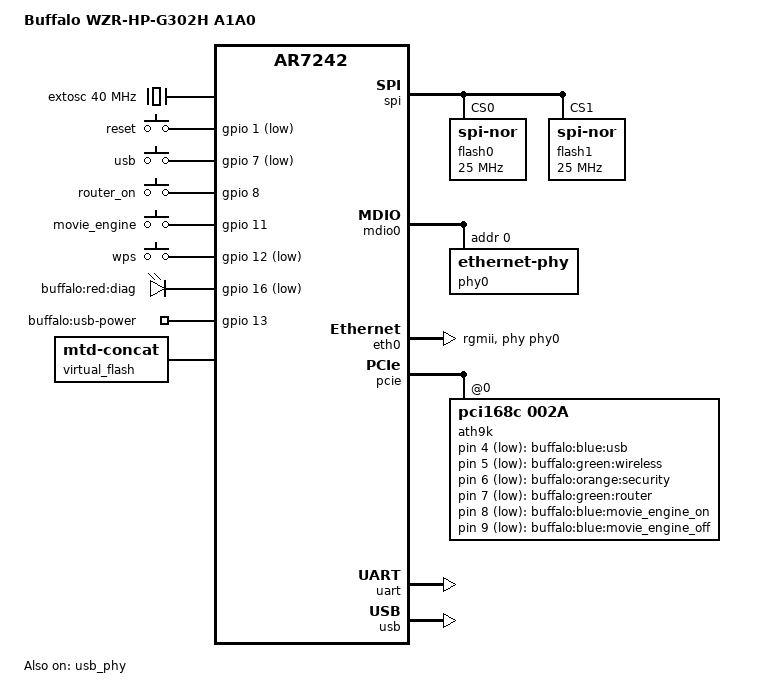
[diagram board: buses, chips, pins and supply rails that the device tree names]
// SPDX-License-Identifier: GPL-2.0-or-later OR MIT
/dts-v1/;

#include <dt-bindings/gpio/gpio.h>
#include <dt-bindings/input/input.h>

#include "ar7242.dtsi"

/ {
	compatible = "buffalo,wzr-hp-g302h-a1a0", "qca,ar7242";
	model = "Buffalo WZR-HP-G302H A1A0";

	aliases {
		led-boot = &diag;
		led-failsafe = &diag;
		led-upgrade = &diag;
	};

	extosc: ref {
		compatible = "fixed-clock";
		#clock-cells = <0>;
		clock-frequency = <40000000>;
	};

	keys {
		compatible = "gpio-keys-polled";
		poll-interval = <20>;

		reset {
			label = "reset";
			linux,code = <KEY_RESTART>;
			gpios = <&gpio 1 GPIO_ACTIVE_LOW>;
			debounce-interval = <60>;
		};

		button_usb {
			label = "usb";
			linux,code = <BTN_2>;
			gpios = <&gpio 7 GPIO_ACTIVE_LOW>;
			debounce-interval = <60>;
		};

		router_on {
			label = "router_on";
			linux,code = <BTN_5>;
			linux,input-type = <EV_SW>;
			gpios = <&gpio 8 GPIO_ACTIVE_HIGH>;
			debounce-interval = <60>;
		};

		movie_engine {
			label = "movie_engine";
			linux,code = <BTN_3>;
			linux,input-type = <EV_SW>;
			gpios = <&gpio 11 GPIO_ACTIVE_HIGH>;
			debounce-interval = <60>;
		};

		wps {
			label = "wps";
			linux,code = <KEY_WPS_BUTTON>;
			gpios = <&gpio 12 GPIO_ACTIVE_LOW>;
			debounce-interval = <60>;
		};
	};

	leds {
		compatible = "gpio-leds";

		diag: diag {
			label = "buffalo:red:diag";
			gpios = <&gpio 16 GPIO_ACTIVE_LOW>;
		};
	};

	ath9k-leds {
		compatible = "gpio-leds";

		usb {
			label = "buffalo:blue:usb";
			gpios = <&ath9k 4 GPIO_ACTIVE_LOW>;
			trigger-sources = <&hub_port>;
			linux,default-trigger = "usbport";
		};

		wireless {
			label = "buffalo:green:wireless";
			gpios = <&ath9k 5 GPIO_ACTIVE_LOW>;
			linux,default-trigger = "phy0tpt";
		};

		security {
			label = "buffalo:orange:security";
			gpios = <&ath9k 6 GPIO_ACTIVE_LOW>;
		};

		router {
			label = "buffalo:green:router";
			gpios = <&ath9k 7 GPIO_ACTIVE_LOW>;
		};

		movie_engine_on {
			label = "buffalo:blue:movie_engine_on";
			gpios = <&ath9k 8 GPIO_ACTIVE_LOW>;
		};

		movie_engine_off {
			label = "buffalo:blue:movie_engine_off";
			gpios = <&ath9k 9 GPIO_ACTIVE_LOW>;
		};
	};

	gpio-export {
		compatible = "gpio-export";
		#size-cells = <0>;

		gpio_usb_power {
			gpio-export,name = "buffalo:usb-power";
			gpio-export,output = <1>;
			gpios = <&gpio 13 GPIO_ACTIVE_HIGH>;
		};
	};

	virtual_flash {
		compatible = "mtd-concat";
		devices = <&flash0 &flash1>;

		partitions {
			compatible = "fixed-partitions";
			#address-cells = <1>;
			#size-cells = <1>;

			partition@0 {
				reg = <0x0 0x40000>;
				label = "u-boot";
				read-only;
			};

			partition@40000 {
				reg = <0x40000 0x10000>;
				label = "u-boot-env";
			};

			art: partition@50000 {
				reg = <0x50000 0x10000>;
				label = "art";
				read-only;
			};

			partition@60000 {
				compatible = "denx,uimage";
				reg = <0x60000 0x1f60000>;
				label = "firmware";
			};

			partition@1fc0000 {
				reg = <0x1fc0000 0x40000>;
				label = "user_property";
				read-only;
			};
		};
	};
};

&spi {
	status = "okay";
	cs-gpios = <0>, <0>;
	num-cs = <2>;

	flash0: flash@0 {
		compatible = "jedec,spi-nor";
		reg = <0>;
		spi-max-frequency = <25000000>;
	};

	flash1: flash@1 {
		compatible = "jedec,spi-nor";
		reg = <1>;
		spi-max-frequency = <25000000>;
	};
};

&mdio0 {
	status = "okay";

	phy-mask = <0x1>;

	phy0: ethernet-phy@0 {
		reg = <0>;
		phy-mode = "rgmii";
	};
};

&eth0 {
	status = "okay";

	pll-data = <0x1c000000 0x00000101 0x00001616>;

	mtd-mac-address = <&art 0x120c>;

	phy-mode = "rgmii";
	phy-handle = <&phy0>;
};

&pcie {
	status = "okay";

	ath9k: wifi@0,0 {
		compatible = "pci168c,002a";
		reg = <0x0000 0 0 0 0>;
		mtd-mac-address = <&art 0x120c>;
		qca,no-eeprom;
		#gpio-cells = <2>;
		gpio-controller;
	};
};

&pll {
	clocks = <&extosc>;
};

&uart {
	status = "okay";
};

&usb_phy {
	status = "okay";
};

&usb {
	#address-cells = <1>;
	#size-cells = <0>;
	status = "okay";

	hub_port: port@1 {
		reg = <1>;
		#trigger-source-cells = <0>;
	};
};
